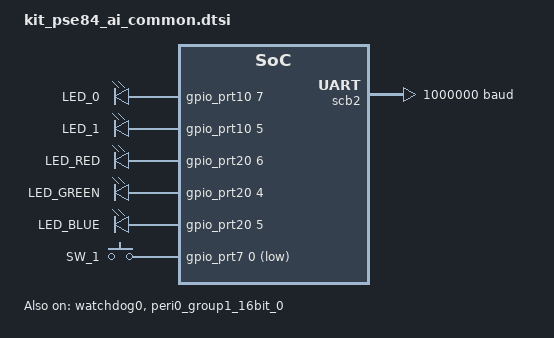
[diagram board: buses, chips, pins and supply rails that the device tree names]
/*
 * Copyright (c) 2025-2026 Infineon Technologies AG,
 * or an affiliate of Infineon Technologies AG.
 *
 * SPDX-License-Identifier: Apache-2.0
 */

#include <zephyr/dt-bindings/input/input-event-codes.h>
#include "kit_pse84_ai_common-pinctrl.dtsi"

/ {
	aliases {
		sw0 = &user_bt;
		watchdog0 = &watchdog0;
	};

	leds {
		compatible = "gpio-leds";

		led_0: led_0 {
			label = "LED_0";
			gpios = <&gpio_prt10 7 GPIO_ACTIVE_HIGH>;
		};

		led_1: led_1 {
			label = "LED_1";
			gpios = <&gpio_prt10 5 GPIO_ACTIVE_HIGH>;
		};

		led_red: led_red {
			label = "LED_RED";
			gpios = <&gpio_prt20 6 GPIO_ACTIVE_HIGH>;
		};

		led_green: led_green {
			label = "LED_GREEN";
			gpios = <&gpio_prt20 4 GPIO_ACTIVE_HIGH>;
		};

		led_blue: led_blue {
			label = "LED_BLUE";
			gpios = <&gpio_prt20 5 GPIO_ACTIVE_HIGH>;
		};
	};

	gpio_keys {
		compatible = "gpio-keys";

		user_bt: button_0 {
			label = "SW_1";
			gpios = <&gpio_prt7 0 (GPIO_PULL_UP | GPIO_ACTIVE_LOW)>;
			zephyr,code = <INPUT_KEY_0>;
		};
	};
};

&watchdog0 {
	status = "okay";
};

uart2: &scb2 {
	compatible = "infineon,uart";
	status = "okay";
	current-speed = <1000000>;      /* PERI0_GRP1 / current-speed should be within (8 ~ 16) divisible value */

	clocks = <&peri0_group1_16bit_0>;       /* 10 MHz */

	pinctrl-0 = <&p6_7_scb2_uart_tx &p6_5_scb2_uart_rx>;
	pinctrl-names = "default";
};

&peri0_group1_16bit_0 {         /* HF10 (80 MHz) / 8 = PERI0_GRP1 (10 MHz) */
	status = "okay";
	clock-div = <8>;
};

&gpio_prt0 {
	status = "okay";
};

&gpio_prt16 {
	status = "okay";
};

&gpio_prt2 {
	status = "okay";
};

&gpio_prt7 {
	status = "okay";
};

&gpio_prt10 {
	status = "okay";
};

&gpio_prt11 {
	status = "okay";
};

&gpio_prt13 {
	status = "okay";
};

&gpio_prt14 {
	status = "okay";
};

&gpio_prt20 {
	status = "okay";
};
